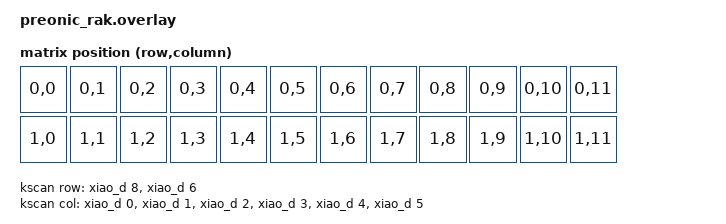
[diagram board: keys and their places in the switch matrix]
#include <dt-bindings/zmk/matrix_transform.h>

/ {
    chosen {
        zmk,kscan = &kscan;
        zmk,matrix_transform = &transform;
    };

    kscan: kscan {
        compatible = "zmk,kscan-gpio-matrix";
        label = "deafult_kscan";
        diode-direction = "row2col";

        row-gpios = <&xiao_d 8 (GPIO_ACTIVE_HIGH | GPIO_PULL_DOWN)>
					, <&xiao_d 6 (GPIO_ACTIVE_HIGH | GPIO_PULL_DOWN)>;


        col-gpios = <&xiao_d 0 (GPIO_ACTIVE_HIGH | GPIO_PULL_DOWN)>
					, <&xiao_d 1 (GPIO_ACTIVE_HIGH | GPIO_PULL_DOWN)>
					, <&xiao_d 2 (GPIO_ACTIVE_HIGH | GPIO_PULL_DOWN)>
					, <&xiao_d 3 (GPIO_ACTIVE_HIGH | GPIO_PULL_DOWN)>
					, <&xiao_d 4 (GPIO_ACTIVE_HIGH | GPIO_PULL_DOWN)>
					, <&xiao_d 5 (GPIO_ACTIVE_HIGH | GPIO_PULL_DOWN)>;
    };

    transform: matrix_transform {
        compatible = "zmk,matrix-transform";
        rows = <2>;
        columns = <6>;

        map = <
                RC(0, 0) RC(0, 1) RC(0, 2) RC(0, 3) RC(0, 4) RC(0, 5) RC(0, 6) RC(0, 7) RC(0, 8) RC(0, 9) RC(0, 10) RC(0, 11)
                RC(1, 0) RC(1, 1) RC(1, 2) RC(1, 3) RC(1, 4) RC(1, 5) RC(1, 6) RC(1, 7) RC(1, 8) RC(1, 9) RC(1, 10) RC(1, 11)
        >;
    };
};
